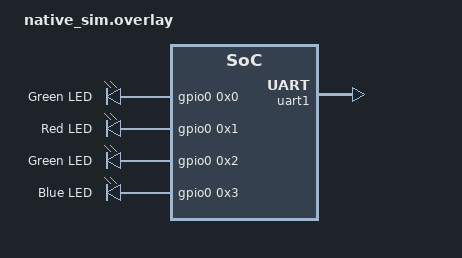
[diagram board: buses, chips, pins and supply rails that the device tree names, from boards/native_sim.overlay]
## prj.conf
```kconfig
CONFIG_LOG=y
CONFIG_LOG_MODE_IMMEDIATE=y
CONFIG_GPIO=y
CONFIG_DEBUG=y
#CONFIG_LED_BLINK_PERIOD=100
```

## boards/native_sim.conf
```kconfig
CONFIG_EMUL=y
CONFIG_GPIO_EMUL=y
CONFIG_NATIVE_SIM_SLOWDOWN_TO_REAL_TIME=y
```

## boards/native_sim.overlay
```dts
/ {
	chosen {
		zephyr,shell-uart = &uart1;
	};

	aliases {
		green-led = &green_led_1;
		blue-led = &blue_led_1;
		red-led = &red_led_1;
	};
};

&uart1 {
		status = "okay";
};

&leds {
	compatible = "gpio-leds";

	led0: led_0 {
		gpios = < &gpio0 0x0 0x0 >;
		label = "Green LED";
	};

	red_led_1: led_1 {
		gpios = < &gpio0 0x1 0x0 >;
		label = "Red LED";
	};

	green_led_1: led_2 {
		gpios = < &gpio0 0x2 0x0 >;
		label = "Green LED";
	};

	blue_led_1: led_3 {
		gpios = < &gpio0 0x3 0x0 >;
		label = "Blue LED";
	};
};
```

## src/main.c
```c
#include <stdio.h>

#include <zephyr/kernel.h>
#include <zephyr/logging/log.h>

LOG_MODULE_REGISTER(lab4, LOG_LEVEL_DBG);

extern void toggle_red_led();
extern void toggle_green_led();
extern void toggle_blue_led();
extern void red_led_on();
extern void red_led_off();
extern void green_led_on();
extern void green_led_off();
extern void blue_led_on();
extern void blue_led_off();

int main(void)
{
  //
  LOG_DBG("Doing something");
  //

  k_sleep(K_FOREVER);

  return 0;
}
```

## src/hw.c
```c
#include <zephyr/kernel.h>
#include <zephyr/logging/log.h>

LOG_MODULE_REGISTER(led, LOG_LEVEL_DBG);

K_MUTEX_DEFINE(red_mutex);
K_MUTEX_DEFINE(green_mutex);
K_MUTEX_DEFINE(blue_mutex);

typedef struct {
    int state;
    struct k_mutex *mutex;
    const char *str;
} led_ctrl;

led_ctrl red_ctrl = {
    .state = 0,
    .mutex = &red_mutex,
    .str = "Red"
};

led_ctrl green_ctrl = {
    .state = 0,
    .mutex = &green_mutex,
    .str = "Green"
};

led_ctrl blue_ctrl = {
    .state = 0,
    .mutex = &blue_mutex,
    .str = "Blue"
};

void toggle_led(led_ctrl *ctrl)
{
    k_mutex_lock(ctrl->mutex, K_FOREVER);
    ctrl->state ^= 1;
    LOG_INF("%s %s", ctrl->str, ctrl->state?"ON":"OFF");
    k_mutex_unlock(ctrl->mutex);
}

void set_led(led_ctrl *ctrl, bool on)
{
    k_mutex_lock(ctrl->mutex, K_FOREVER);
    ctrl->state = on?1:0;
    LOG_INF("%s %s", ctrl->str, ctrl->state?"ON":"OFF");
    k_mutex_unlock(ctrl->mutex);
}

void toggle_red_led()
{
    toggle_led(&red_ctrl);
}

void toggle_green_led()
{
    toggle_led(&green_ctrl);
}

void toggle_blue_led()
{
    toggle_led(&blue_ctrl);
}

void red_led_on()
{
    set_led(&red_ctrl, true);
}

void red_led_off()
{
    set_led(&red_ctrl, false);
}

void green_led_on()
{
    set_led(&green_ctrl, true);
}

void green_led_off()
{
    set_led(&green_ctrl, false);
}

void blue_led_on()
{
    set_led(&blue_ctrl, true);
}

void blue_led_off()
{
    set_led(&blue_ctrl, false);
}
```
